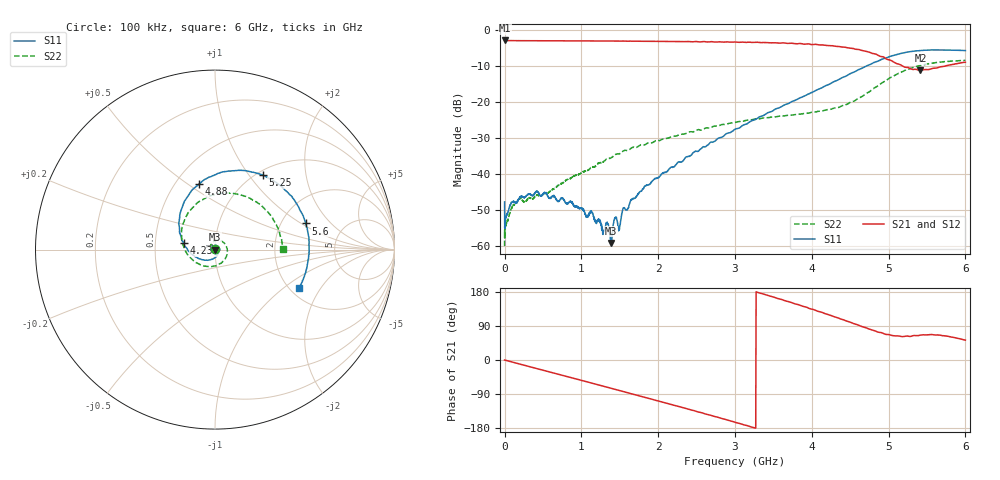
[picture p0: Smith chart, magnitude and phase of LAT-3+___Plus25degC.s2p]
! MODEL: LAT-3+, Mini-Circuits Lab
! TESTED ON : 3/6/2006
! INPUT POWER = 0 dBm @Temperature=+25degC
# mhz s db r 50
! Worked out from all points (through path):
!   1601 points, 100 kHz to 6 GHz, reference 50 ohm
!   highest |S21| = -2.95 dB at 100 kHz (marker M1); lowest = -11.2 dB at 5.415 GHz (marker M2)
!   group delay of S21, straight-line fit = 154 ps
!   lowest |S11| = -59.1 dB at 1.39 GHz (marker M3), VSWR 1.00, Z = 49.9 + j0.0518 ohm
!   |S11| at or under -10 dB: start of sweep to 4.714 GHz
!   |S22| runs from -60.0 to -8.5 dB; largest |S21 - S12| = 0.02
!   S11 on the Smith chart (normalised r, x): 100 kHz: 1.00, +0.01; 4.235 GHz: 0.70, +0.05; 4.88 GHz: 0.65, +0.55; 5.25 GHz: 1.06, +1.17; 5.6 GHz: 2.72, +1.10; 6 GHz: 2.25, -1.30
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0.1  -47.71 118.9  -2.95 -0.1  -2.95 -0.1  -59.97 70.0
1.3  -54.61 11.6  -2.98 0.0  -2.97 -0.1  -57.48 2.5
84  -47.99 9.7  -2.99 -4.6  -2.99 -4.6  -49.74 1.5
190  -46.65 -1.9  -3.00 -10.4  -3.00 -10.3  -46.81 -15.2
524  -45.07 -34.4  -3.02 -28.2  -3.04 -28.2  -45.38 -66.9
1002  -49.45 -94.2  -3.07 -53.8  -3.06 -53.9  -39.62 -132.6
1072  -51.77 -103.5  -3.08 -57.6  -3.07 -57.7  -39.09 -138.1
1136  -50.71 -123.3  -3.07 -61.1  -3.08 -61.1  -38.01 -145.0
1280  -56.65 -151.6  -3.10 -68.9  -3.09 -68.9  -36.70 -157.6
1390  -59.06 152.2  -3.11 -74.8  -3.12 -74.8  -35.45 -167.5
1665  -47.04 73.6  -3.15 -89.9  -3.16 -89.7  -32.60 174.2
2005  -40.87 25.5  -3.20 -108.3  -3.21 -108.3  -30.66 150.8
3005  -27.52 -82.9  -3.38 -164.5  -3.41 -164.8  -25.64 80.3
3505  -22.26 -130.2  -3.57 165.9  -3.66 165.4  -24.17 40.2
4005  -17.34 -171.6  -4.11 133.9  -4.01 135.0  -22.89 -18.0
4235  -15.01 168.5  -4.39 118.5  -4.35 119.3  -22.10 -53.8
4880  -8.49 103.6  -7.28 72.8  -7.23 73.1  -15.25 176.4
5005  -7.48 88.4  -8.33 67.0  -8.13 67.9  -13.50 151.8
5250  -6.15 57.5  -10.45 62.9  -10.37 62.5  -10.94 106.8
5415  -5.75 37.0  -11.21 65.7  -11.11 65.3  -9.89 79.0
5600  -5.58 16.1  -10.64 65.9  -10.58 65.4  -9.16 51.0
6000  -5.75 -24.3  -9.01 52.4  -9.03 52.4  -8.49 0.7
